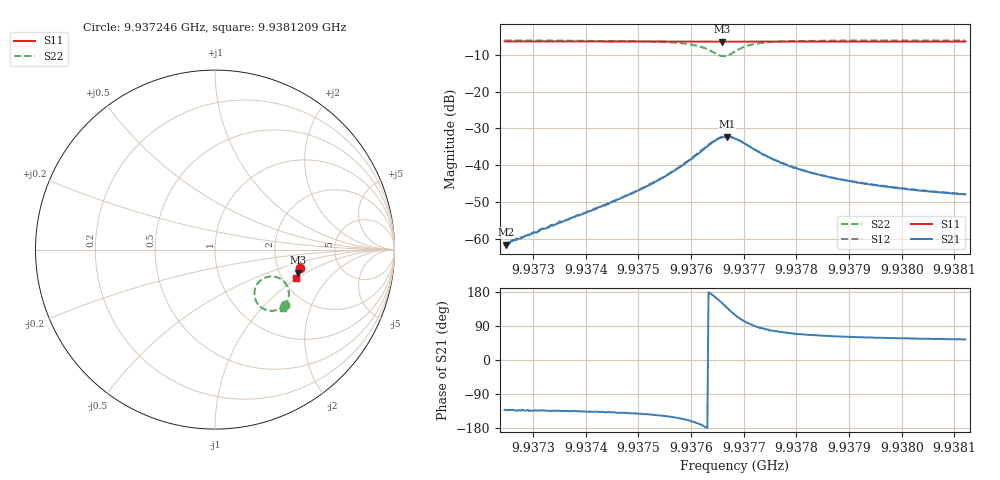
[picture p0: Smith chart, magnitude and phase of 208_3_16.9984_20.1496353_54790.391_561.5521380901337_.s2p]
#  HZ  S  RI  R  50.00
! Rohde & Schwarz Vector Network Analyzer
! Rohde-Schwarz,ZNB20-2Port,1311601062101988,3.16
! Created: UTC 3/20/2024, 11:01:21 PM
! freq[Hz]  re:S11  im:S11  re:S21  im:S21  re:S12  im:S12  re:S22  im:S22
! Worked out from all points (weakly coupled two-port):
!   401 points, 9.937246 GHz to 9.9381209 GHz, reference 50 ohm
!   highest |S21| = -32.28 dB at 9.9376681 GHz (marker M1); lowest = -61.6 dB at 9.9372482 GHz (marker M2)
!   lowest |S11| = -6.4 dB at 9.9376594 GHz (marker M3), VSWR 2.84, Z = 126 - j42.1 ohm
!   |S11| at or under -10 dB: nowhere
!   |S22| runs from -10.4 to -6.0 dB; largest |S21 - S12| = 0.0011
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9.93724602e9  0.4727 -0.1031  -0.000553 -0.000622  -0.000538 -0.000577  0.3918 -0.3071
9.9372482e9  0.4725 -0.1032  -0.000545 -0.000626  -0.000584 -0.000623  0.3916 -0.307
9.93726133e9  0.4723 -0.1041  -0.000613 -0.00069  -0.000616 -0.000737  0.3905 -0.3083
9.93727226e9  0.4721 -0.1048  -0.000675 -0.000735  -0.00066 -0.000714  0.3895 -0.3092
9.93739256e9  0.4697 -0.1129  -0.00153 -0.00151  -0.00157 -0.00151  0.3762 -0.3203
9.93746692e9  0.4682 -0.118  -0.00269 -0.00232  -0.00276 -0.00232  0.3626 -0.3289
9.9375391e9  0.4662 -0.1228  -0.00524 -0.00352  -0.00537 -0.00348  0.3373 -0.3387
9.93757846e9  0.4651 -0.1256  -0.0084 -0.00411  -0.00865 -0.00404  0.3091 -0.3409
9.93761565e9  0.4636 -0.1281  -0.0143 -0.00278  -0.0149 -0.00267  0.2602 -0.3238
9.93763096e9  0.4627 -0.1288  -0.018 -0.000164  -0.0184 0.000292  0.2348 -0.2972
9.93764408e9  0.4619 -0.1292  -0.0207 0.00432  -0.0212 0.00527  0.2201 -0.257
9.93765939e9  0.4613 -0.1294  -0.0206 0.0121  -0.0206 0.0131  0.2328 -0.1961
9.93766814e9  0.4613 -0.1293  -0.0181 0.0163  -0.0179 0.017  0.2595 -0.1671
9.93768345e9  0.4618 -0.1297  -0.0112 0.02  -0.0107 0.0208  0.3198 -0.1494
9.93770532e9  0.4622 -0.1312  -0.00301 0.0187  -0.00241 0.0189  0.3804 -0.1747
9.93773156e9  0.4621 -0.1332  0.0014 0.0146  0.00166 0.0149  0.4063 -0.2145
9.93775781e9  0.462 -0.1354  0.00269 0.0115  0.00294 0.0115  0.4117 -0.2419
9.93778187e9  0.4613 -0.1371  0.0031 0.0096  0.00336 0.00948  0.4105 -0.2592
9.93782999e9  0.4604 -0.1406  0.0032 0.00714  0.00335 0.00714  0.4055 -0.2803
9.93788685e9  0.459 -0.1444  0.00301 0.00556  0.00314 0.00553  0.3988 -0.295
9.93797653e9  0.4569 -0.1503  0.00263 0.00424  0.00278 0.00429  0.3901 -0.3092
9.93812088e9  0.453 -0.1595  0.00234 0.00324  0.00238 0.00327  0.3787 -0.3237
